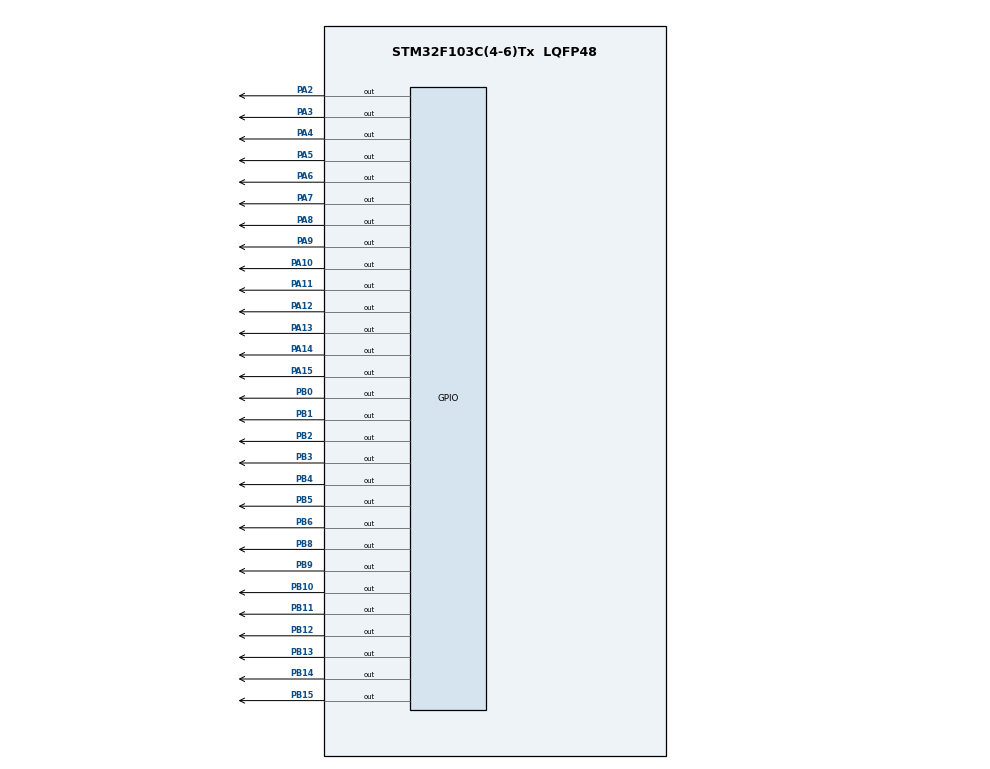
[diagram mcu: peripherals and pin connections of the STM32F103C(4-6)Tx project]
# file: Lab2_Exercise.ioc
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Mcu.Family=STM32F1
Mcu.Name=STM32F103C(4-6)Tx
Mcu.Package=LQFP48
NVIC.PriorityGroup=NVIC_PRIORITYGROUP_4
NVIC.TIM2_IRQn=true\:0\:0\:false\:false\:true\:true\:true
PA10.Signal=GPIO_Output
PA11.Signal=GPIO_Output
PA12.Signal=GPIO_Output
PA13.Signal=GPIO_Output
PA14.Signal=GPIO_Output
PA15.Signal=GPIO_Output
PA2.Signal=GPIO_Output
PA3.Signal=GPIO_Output
PA4.Signal=GPIO_Output
PA5.Signal=GPIO_Output
PA6.Signal=GPIO_Output
PA7.Signal=GPIO_Output
PA8.Signal=GPIO_Output
PA9.Signal=GPIO_Output
PB0.Signal=GPIO_Output
PB1.Signal=GPIO_Output
PB10.Signal=GPIO_Output
PB11.Signal=GPIO_Output
PB12.Signal=GPIO_Output
PB13.Signal=GPIO_Output
PB14.Signal=GPIO_Output
PB15.Signal=GPIO_Output
PB2.Signal=GPIO_Output
PB3.Signal=GPIO_Output
PB4.Signal=GPIO_Output
PB5.Signal=GPIO_Output
PB6.Signal=GPIO_Output
PB8.Signal=GPIO_Output
PB9.Signal=GPIO_Output
ProjectManager.HeapSize=0x200
ProjectManager.StackSize=0x400
ProjectManager.TargetToolchain=STM32CubeIDE
RCC.APB1Freq_Value=8000000
RCC.APB2Freq_Value=8000000
TIM2.Period=9
TIM2.Prescaler=7999
VP_SYS_VS_ND.Mode=No_Debug
VP_TIM2_VS_ClockSourceINT.Mode=Internal
board=custom

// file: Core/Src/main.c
/* USER CODE BEGIN Header */
/**
  ******************************************************************************
  * @file           : main.c
  * @brief          : Main program body
  ******************************************************************************
  * @attention
  *
  * <h2><center>&copy; Copyright (c) 2026 STMicroelectronics.
  * All rights reserved.</center></h2>
  *
  * This software component is licensed by ST under BSD 3-Clause license,
  * the "License"; You may not use this file except in compliance with the
  * License. You may obtain a copy of the License at:
  *                        opensource.org/licenses/BSD-3-Clause
  *
  ******************************************************************************
  */
/* USER CODE END Header */
#include "main.h"

TIM_HandleTypeDef htim2;

/* USER CODE BEGIN PV */
// --- BÀI 5: ĐỒNG HỒ SỐ (4 LED 7 ĐOẠN) ---
int hour = 14;
int minute = 20;
int second = 50;

int led_buffer[4] = {0, 0, 0, 0}; // Mảng đệm chứa 4 số của đồng hồ
int index_led = 0;

int flag = 0;
// Các biến đếm thời gian trực tiếp trong ngắt (BÀI 5)
int timer_clock_count = 100; // 100 * 10ms = 1000ms (1 giây tăng biến second)
int timer_led_scan = 25;      // Quét LED 7 đoạn mượt mỗi 250ms

// --- MA TRẬN LED 8x8 (CHỮ 'A' TRƯỢT DƯỚI -> TRÊN) ---
const uint8_t font_A[8] = {
    0x18, 0x3C, 0x66, 0x66, 0x7E, 0x66, 0x66, 0x00
};

uint8_t matrix_buffer[8] = {0}; // Đệm 8 cột LED Matrix
int vertical_shift = 0;         // Mức độ trượt dọc (0 -> 15)

// Mảng tra cứu chân quét Cột ENM0 -> ENM7 qua ULN2803 (PA2-PA3, PA10-PA15)[cite: 5]
const uint16_t ENM_PIN[8] = {
    GPIO_PIN_2,  GPIO_PIN_3,  GPIO_PIN_10, GPIO_PIN_11,
    GPIO_PIN_12, GPIO_PIN_13, GPIO_PIN_14, GPIO_PIN_15
};

// Software Timer Global Variables
// timer_flag[0..7]: Quét 8 Cột Ma trận LED bằng 8 cờ độc lập
// timer_flag[9]: Chớp tắt LED D1 (500ms)
// timer_flag[10]: Dịch chữ 'A' từ Dưới lên Trên (150ms)
int timer_counter[12] = {0};
int timer_flag[12] = {0};
/* USER CODE END PV */

void SystemClock_Config(void);
static void MX_GPIO_Init(void);
static void MX_TIM2_Init(void);
/* USER CODE BEGIN PFP */
void display7SEG(int num);
void update7SEG(int index);
void updateClockBuffer(void);

void setTimer(int index, int duration);
void timerRun(void);
void updateAnimationBuffer(void);
void updateLEDMatrix(int index);
/* USER CODE END PFP */

int main(void)
{
  /* MCU Configuration--------------------------------------------------------*/
  HAL_Init();
  SystemClock_Config();

  /* Initialize all configured peripherals */
  MX_GPIO_Init();
  MX_TIM2_Init();

  /* USER CODE BEGIN 2 */
  updateClockBuffer();     // Khởi tạo đệm thời gian cho Đồng hồ (Bài 5)
  updateAnimationBuffer(); // Khởi tạo đệm cho Ma trận LED

  HAL_TIM_Base_Start_IT(&htim2); // Kích hoạt ngắt TIM2

  // Khởi tạo cờ quét Cột 0 cho LED Matrix, Timer dịch chữ A và Timer chớp tắt D1
  setTimer(0, 1);    // Bắt đầu chuỗi quét 8 cờ Matrix
  setTimer(9, 50);   // Timer 9: Chớp tắt LED D1 mỗi 500ms
  setTimer(10, 15);  // Timer 10: Dịch chữ A từ dưới lên trên mỗi 150ms
  /* USER CODE END 2 */

  /* Infinite loop */
  while (1)
  {
      if (timer_flag[flag] == 1) {
              updateLEDMatrix(flag);
              timer_flag[flag] = 0;
              flag++;
              if(flag == 8){
                flag = 0;
              }
              setTimer(flag, 1);
        }

      if (timer_flag[10] == 1) {
          setTimer(10, 15);

          vertical_shift++;
          if (vertical_shift >= 16) {
              vertical_shift = 0;
          }

          updateAnimationBuffer();
      }

      if (timer_flag[9] == 1) {
          setTimer(9, 50);
          HAL_GPIO_TogglePin(GPIOA, GPIO_PIN_5);
      }

  }
}

void SystemClock_Config(void)
{
  RCC_OscInitTypeDef RCC_OscInitStruct = {0};
  RCC_ClkInitTypeDef RCC_ClkInitStruct = {0};

  /** Initializes the RCC Oscillators according to the specified parameters
  * in the RCC_OscInitTypeDef structure.
  */
  RCC_OscInitStruct.OscillatorType = RCC_OSCILLATORTYPE_HSI;
  RCC_OscInitStruct.HSIState = RCC_HSI_ON;
  RCC_OscInitStruct.HSICalibrationValue = RCC_HSICALIBRATION_DEFAULT;
  RCC_OscInitStruct.PLL.PLLState = RCC_PLL_NONE;
  if (HAL_RCC_OscConfig(&RCC_OscInitStruct) != HAL_OK)
  {
    Error_Handler();
  }
  /** Initializes the CPU, AHB and APB buses clocks
  */
  RCC_ClkInitStruct.ClockType = RCC_CLOCKTYPE_HCLK|RCC_CLOCKTYPE_SYSCLK
                              |RCC_CLOCKTYPE_PCLK1|RCC_CLOCKTYPE_PCLK2;
  RCC_ClkInitStruct.SYSCLKSource = RCC_SYSCLKSOURCE_HSI;
  RCC_ClkInitStruct.AHBCLKDivider = RCC_SYSCLK_DIV1;
  RCC_ClkInitStruct.APB1CLKDivider = RCC_HCLK_DIV1;
  RCC_ClkInitStruct.APB2CLKDivider = RCC_HCLK_DIV1;

  if (HAL_RCC_ClockConfig(&RCC_ClkInitStruct, FLASH_LATENCY_0) != HAL_OK)
  {
    Error_Handler();
  }
}

static void MX_TIM2_Init(void)
{

  TIM_ClockConfigTypeDef sClockSourceConfig = {0};
  TIM_MasterConfigTypeDef sMasterConfig = {0};

  htim2.Instance = TIM2;
  htim2.Init.Prescaler = 7999;
  htim2.Init.CounterMode = TIM_COUNTERMODE_UP;
  htim2.Init.Period = 9;
  htim2.Init.ClockDivision = TIM_CLOCKDIVISION_DIV1;
  htim2.Init.AutoReloadPreload = TIM_AUTORELOAD_PRELOAD_DISABLE;
  if (HAL_TIM_Base_Init(&htim2) != HAL_OK)
  {
    Error_Handler();
  }
  sClockSourceConfig.ClockSource = TIM_CLOCKSOURCE_INTERNAL;
  if (HAL_TIM_ConfigClockSource(&htim2, &sClockSourceConfig) != HAL_OK)
  {
    Error_Handler();
  }
  sMasterConfig.MasterOutputTrigger = TIM_TRGO_RESET;
  sMasterConfig.MasterSlaveMode = TIM_MASTERSLAVEMODE_DISABLE;
  if (HAL_TIMEx_MasterConfigSynchronization(&htim2, &sMasterConfig) != HAL_OK)
  {
    Error_Handler();
  }

}

static void MX_GPIO_Init(void)
{
  GPIO_InitTypeDef GPIO_InitStruct = {0};

  /* GPIO Ports Clock Enable */
  __HAL_RCC_GPIOA_CLK_ENABLE();
  __HAL_RCC_GPIOB_CLK_ENABLE();

  /*Configure GPIO pin Output Level */
  HAL_GPIO_WritePin(GPIOA, GPIO_PIN_2|GPIO_PIN_3|GPIO_PIN_4|GPIO_PIN_5
                          |GPIO_PIN_6|GPIO_PIN_7|GPIO_PIN_8|GPIO_PIN_9
                          |GPIO_PIN_10|GPIO_PIN_11|GPIO_PIN_12|GPIO_PIN_13
                          |GPIO_PIN_14|GPIO_PIN_15, GPIO_PIN_RESET);

  /*Configure GPIO pin Output Level */
  HAL_GPIO_WritePin(GPIOB, GPIO_PIN_0|GPIO_PIN_1|GPIO_PIN_2|GPIO_PIN_3
                          |GPIO_PIN_4|GPIO_PIN_5|GPIO_PIN_6|GPIO_PIN_8
                          |GPIO_PIN_9|GPIO_PIN_10|GPIO_PIN_11|GPIO_PIN_12
                          |GPIO_PIN_13|GPIO_PIN_14|GPIO_PIN_15, GPIO_PIN_RESET);

  /*Configure GPIO pins : PA2 PA3 PA4 PA5 PA6 PA7 PA8 PA9 PA10 PA11 PA12 PA13 PA14 PA15 */
  GPIO_InitStruct.Pin = GPIO_PIN_2|GPIO_PIN_3|GPIO_PIN_4|GPIO_PIN_5
                          |GPIO_PIN_6|GPIO_PIN_7|GPIO_PIN_8|GPIO_PIN_9
                          |GPIO_PIN_10|GPIO_PIN_11|GPIO_PIN_12|GPIO_PIN_13
                          |GPIO_PIN_14|GPIO_PIN_15;
  GPIO_InitStruct.Mode = GPIO_MODE_OUTPUT_PP;
  GPIO_InitStruct.Pull = GPIO_NOPULL;
  GPIO_InitStruct.Speed = GPIO_SPEED_FREQ_LOW;
  HAL_GPIO_Init(GPIOA, &GPIO_InitStruct);

  /*Configure GPIO pins : PB0 PB1 PB2 PB3 PB4 PB5 PB6 PB8 PB9 PB10 PB11 PB12 PB13 PB14 PB15 */
  GPIO_InitStruct.Pin = GPIO_PIN_0|GPIO_PIN_1|GPIO_PIN_2|GPIO_PIN_3
                          |GPIO_PIN_4|GPIO_PIN_5|GPIO_PIN_6|GPIO_PIN_8
                          |GPIO_PIN_9|GPIO_PIN_10|GPIO_PIN_11|GPIO_PIN_12
                          |GPIO_PIN_13|GPIO_PIN_14|GPIO_PIN_15;
  GPIO_InitStruct.Mode = GPIO_MODE_OUTPUT_PP;
  GPIO_InitStruct.Pull = GPIO_NOPULL;
  GPIO_InitStruct.Speed = GPIO_SPEED_FREQ_LOW;
  HAL_GPIO_Init(GPIOB, &GPIO_InitStruct);

}

/* USER CODE BEGIN 4 */
// ----------------------------------------------------
// CÁC HÀM BÀI 5: CẬP NHẬT ĐỒNG HỒ SỐ 4 LED 7 ĐOẠN
// ----------------------------------------------------
void updateClockBuffer(void) {
    led_buffer[0] = hour / 10;   // Hàng chục của giờ
    led_buffer[1] = hour % 10;   // Hàng đơn vị của giờ
    led_buffer[2] = minute / 10; // Hàng chục của phút
    led_buffer[3] = minute % 10; // Hàng đơn vị của phút
}

// Cập nhật trạng thái hiển thị tuần tự cho 4 LED (Chân PA6, PA7, PA8, PA9)
void update7SEG(int index) {
    // Tắt tất cả 4 Transistor trước khi đổi số (PA6, PA7, PA8, PA9 = 1)
    HAL_GPIO_WritePin(GPIOA, GPIO_PIN_6 | GPIO_PIN_7 | GPIO_PIN_8 | GPIO_PIN_9, GPIO_PIN_SET);

    switch (index) {
        case 0:
            display7SEG(led_buffer[0]);
            HAL_GPIO_WritePin(GPIOA, GPIO_PIN_6, GPIO_PIN_RESET); // Bật LED 1 (PA6 = 0)
            break;
        case 1:
            display7SEG(led_buffer[1]);
            HAL_GPIO_WritePin(GPIOA, GPIO_PIN_7, GPIO_PIN_RESET); // Bật LED 2 (PA7 = 0)
            break;
        case 2:
            display7SEG(led_buffer[2]);
            HAL_GPIO_WritePin(GPIOA, GPIO_PIN_8, GPIO_PIN_RESET); // Bật LED 3 (PA8 = 0)
            break;
        case 3:
            display7SEG(led_buffer[3]);
            HAL_GPIO_WritePin(GPIOA, GPIO_PIN_9, GPIO_PIN_RESET); // Bật LED 4 (PA9 = 0)
            break;
        default:
            break;
    }
}

// Hàm xuất mã 7 đoạn ra PB0 - PB6 (Bài 5)
void display7SEG(int num) {
    unsigned char seg_code[10] = {
        0x40, // 0
        0x79, // 1
        0x24, // 2
        0x30, // 3
        0x19, // 4
        0x12, // 5
        0x02, // 6
        0x78, // 7
        0x00, // 8
        0x10  // 9
    };

    if (num >= 0 && num <= 9) {
        unsigned char code = seg_code[num];
        HAL_GPIO_WritePin(GPIOB, GPIO_PIN_0, (code & 0x01) ? GPIO_PIN_SET : GPIO_PIN_RESET);
        HAL_GPIO_WritePin(GPIOB, GPIO_PIN_1, (code & 0x02) ? GPIO_PIN_SET : GPIO_PIN_RESET);
        HAL_GPIO_WritePin(GPIOB, GPIO_PIN_2, (code & 0x04) ? GPIO_PIN_SET : GPIO_PIN_RESET);
        HAL_GPIO_WritePin(GPIOB, GPIO_PIN_3, (code & 0x08) ? GPIO_PIN_SET : GPIO_PIN_RESET);
        HAL_GPIO_WritePin(GPIOB, GPIO_PIN_4, (code & 0x10) ? GPIO_PIN_SET : GPIO_PIN_RESET);
        HAL_GPIO_WritePin(GPIOB, GPIO_PIN_5, (code & 0x20) ? GPIO_PIN_SET : GPIO_PIN_RESET);
        HAL_GPIO_WritePin(GPIOB, GPIO_PIN_6, (code & 0x40) ? GPIO_PIN_SET : GPIO_PIN_RESET);
    }
}

// ----------------------------------------------------
// CÁC HÀM XỬ LÝ MA TRẬN LED 8x8 (CHỮ 'A' TRƯỢT DƯỚI -> TRÊN)
// ----------------------------------------------------
void updateAnimationBuffer(void) {
    for (int col = 0; col < 8; col++) {
        uint8_t data = font_A[col];

        if (vertical_shift < 8) {
            matrix_buffer[col] = (data << (7 - vertical_shift));
        } else {
            matrix_buffer[col] = (data >> (vertical_shift - 7));
        }
    }
}

void updateLEDMatrix(int index) {
    // Tắt tất cả các cột chống bóng mờ (ULN2803 Input LOW)
    for (int i = 0; i < 8; i++) {
        HAL_GPIO_WritePin(GPIOA, ENM_PIN[i], GPIO_PIN_RESET);
    }

    // Xuất dữ liệu Hàng ra PB8 -> PB15
    uint8_t row_data = matrix_buffer[index];
    for (int bit = 0; bit < 8; bit++) {
        GPIO_PinState pin_state = (row_data & (1 << bit)) ? GPIO_PIN_SET : GPIO_PIN_RESET;
        HAL_GPIO_WritePin(GPIOB, (GPIO_PIN_8 << bit), pin_state);
    }

    // Bật Cột hiện tại (ULN2803 Input HIGH)
    HAL_GPIO_WritePin(GPIOA, ENM_PIN[index], GPIO_PIN_SET);
}

// ----------------------------------------------------
// SOFTWARE TIMER ENGINE & HARDWARE INTERRUPT CALLBACK
// ----------------------------------------------------
void setTimer(int index, int duration) {
    timer_counter[index] = duration;
    timer_flag[index] = 0;
}

void timerRun(void) {
    for (int i = 0; i < 12; i++) {
        if (timer_counter[i] > 0) {
            timer_counter[i]--;
            if (timer_counter[i] <= 0) {
                timer_flag[i] = 1;
            }
        }
    }
}

void HAL_TIM_PeriodElapsedCallback(TIM_HandleTypeDef *htim) {
    if (htim->Instance == TIM2) { //

        // 1. CHẠY SOFTWARE TIMERS CHO MATRIX LED & LED D1
        timerRun();

        // 2. ĐẾM THỜI GIAN THỰC GIỜ - PHÚT - GIÂY TRỰC TIẾP TRONG NGẮT (BÀI 5)
        // ----------------------------------------------------
        timer_clock_count--;
        if (timer_clock_count <= 0) {
            timer_clock_count = 100; // Reset đếm 1000ms (1s)

            // Nhấp nháy 2 LED DOT ở PA4 (Cũng là D2, D3)[cite: 6]
            HAL_GPIO_TogglePin(GPIOA, GPIO_PIN_4);

            // Tăng giây
            second++;
            if (second >= 60) {
                second = 0;
                minute++;
                if (minute >= 60) {
                    minute = 0;
                    hour++;
                    if (hour >= 24) {
                        hour = 0;
                    }
                }
            }

            // Cập nhật lại giá trị mới vào mảng led_buffer
            updateClockBuffer();
        }

        // 3. CHUYỂN QUÉT 4 LED 7 ĐOẠN TRỰC TIẾP TRONG NGẮT (BÀI 5)
        // ----------------------------------------------------
        timer_led_scan--;
        if (timer_led_scan <= 0) {
            timer_led_scan = 25; // Quét nhanh mượt mỗi 10ms

            // Quét LED tương ứng
            update7SEG(index_led);

            index_led++;
            if (index_led >= 4) {
                index_led = 0;
            }
        }
    }
}
/* USER CODE END 4 */

void Error_Handler(void)
{
  __disable_irq();
  while (1)
  {
  }
}

/************************ (C) COPYRIGHT STMicroelectronics *****END OF FILE****/
